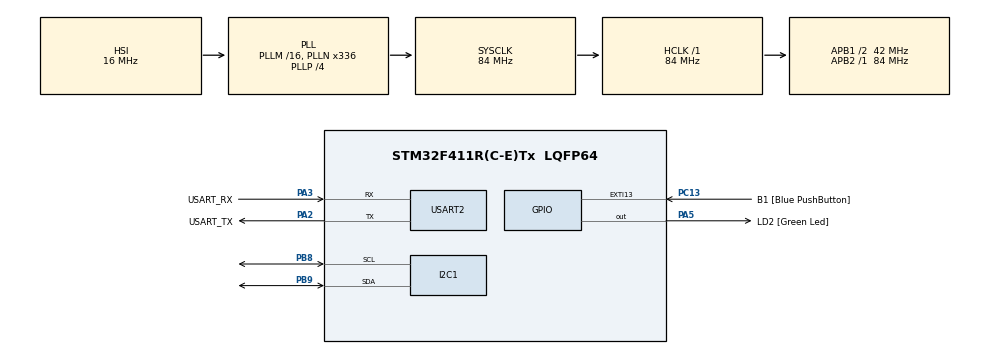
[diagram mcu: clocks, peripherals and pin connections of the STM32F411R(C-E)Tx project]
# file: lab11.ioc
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Dma.I2C1_RX.1.Direction=DMA_PERIPH_TO_MEMORY
Dma.I2C1_RX.1.FIFOMode=DMA_FIFOMODE_DISABLE
Dma.I2C1_RX.1.Instance=DMA1_Stream0
Dma.I2C1_RX.1.MemDataAlignment=DMA_MDATAALIGN_BYTE
Dma.I2C1_RX.1.MemInc=DMA_MINC_ENABLE
Dma.I2C1_RX.1.Mode=DMA_NORMAL
Dma.I2C1_RX.1.PeriphDataAlignment=DMA_PDATAALIGN_BYTE
Dma.I2C1_RX.1.PeriphInc=DMA_PINC_DISABLE
Dma.I2C1_RX.1.Priority=DMA_PRIORITY_LOW
Dma.I2C1_TX.0.Direction=DMA_MEMORY_TO_PERIPH
Dma.I2C1_TX.0.FIFOMode=DMA_FIFOMODE_DISABLE
Dma.I2C1_TX.0.Instance=DMA1_Stream1
Dma.I2C1_TX.0.MemDataAlignment=DMA_MDATAALIGN_BYTE
Dma.I2C1_TX.0.MemInc=DMA_MINC_ENABLE
Dma.I2C1_TX.0.Mode=DMA_NORMAL
Dma.I2C1_TX.0.PeriphDataAlignment=DMA_PDATAALIGN_BYTE
Dma.I2C1_TX.0.PeriphInc=DMA_PINC_DISABLE
Dma.I2C1_TX.0.Priority=DMA_PRIORITY_LOW
Dma.Request0=I2C1_TX
Dma.Request1=I2C1_RX
Mcu.Family=STM32F4
Mcu.Name=STM32F411R(C-E)Tx
Mcu.Package=LQFP64
NVIC.DMA1_Stream0_IRQn=true\:0\:0\:false\:false\:true\:false\:true
NVIC.DMA1_Stream1_IRQn=true\:0\:0\:false\:false\:true\:false\:true
NVIC.I2C1_ER_IRQn=true\:0\:0\:false\:false\:true\:true\:true
NVIC.I2C1_EV_IRQn=true\:0\:0\:false\:false\:true\:true\:true
NVIC.PriorityGroup=NVIC_PRIORITYGROUP_0
PA13.GPIO_Label=TMS
PA13.Mode=Serial_Wire
PA13.Signal=SYS_JTMS-SWDIO
PA14.GPIO_Label=TCK
PA14.Mode=Serial_Wire
PA14.Signal=SYS_JTCK-SWCLK
PA2.GPIO_Label=USART_TX
PA2.Mode=Asynchronous
PA2.Signal=USART2_TX
PA3.GPIO_Label=USART_RX
PA3.Mode=Asynchronous
PA3.Signal=USART2_RX
PA5.GPIO_Label=LD2 [Green Led]
PA5.Signal=GPIO_Output
PB3.GPIO_Label=SWO
PB3.Signal=SYS_JTDO-SWO
PB8.Mode=I2C
PB8.Signal=I2C1_SCL
PB9.Mode=I2C
PB9.Signal=I2C1_SDA
PC13-ANTI_TAMP.GPIO_Label=B1 [Blue PushButton]
PC13-ANTI_TAMP.GPIO_ModeDefaultEXTI=GPIO_MODE_IT_FALLING
PC13-ANTI_TAMP.Signal=GPXTI13
PC14-OSC32_IN.Mode=LSE-External-Oscillator
PC14-OSC32_IN.Signal=RCC_OSC32_IN
PC15-OSC32_OUT.Mode=LSE-External-Oscillator
PC15-OSC32_OUT.Signal=RCC_OSC32_OUT
PH0\ -\ OSC_IN.Mode=HSE-External-Clock-Source
PH0\ -\ OSC_IN.Signal=RCC_OSC_IN
PH1\ -\ OSC_OUT.Mode=HSE-External-Clock-Source
PH1\ -\ OSC_OUT.Signal=RCC_OSC_OUT
ProjectManager.HeapSize=0x200
ProjectManager.StackSize=0x400
ProjectManager.TargetToolchain=STM32CubeIDE
RCC.48MHZClocksFreq_Value=84000000
RCC.AHBFreq_Value=84000000
RCC.APB1CLKDivider=RCC_HCLK_DIV2
RCC.APB1Freq_Value=42000000
RCC.APB1TimFreq_Value=84000000
RCC.APB2Freq_Value=84000000
RCC.APB2TimFreq_Value=84000000
RCC.CortexFreq_Value=84000000
RCC.FLatency-AdvancedSettings=FLASH_LATENCY_2
RCC.HCLKFreq_Value=84000000
RCC.HSE_VALUE=8000000
RCC.HSI_VALUE=16000000
RCC.PLLN=336
RCC.PLLP=RCC_PLLP_DIV4
RCC.SYSCLKFreq_VALUE=84000000
RCC.SYSCLKSource=RCC_SYSCLKSOURCE_PLLCLK
RCC.VCOOutputFreq_Value=336000000
USART2.VirtualMode=VM_ASYNC
board=NUCLEO-F411RE

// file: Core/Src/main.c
/* USER CODE BEGIN Header */
/**
 ******************************************************************************
 * @file           : main.c
 * @brief          : Main program body
 ******************************************************************************
 * @attention
 *
 * <h2><center>&copy; Copyright (c) 2021 STMicroelectronics.
 * All rights reserved.</center></h2>
 *
 * This software component is licensed by ST under BSD 3-Clause license,
 * the "License"; You may not use this file except in compliance with the
 * License. You may obtain a copy of the License at:
 *                        opensource.org/licenses/BSD-3-Clause
 *
 ******************************************************************************
 */
/* USER CODE END Header */
#include "main.h"

/* USER CODE BEGIN PD */
#define EEPROM_ADDR 0b10100000
#define IOEXPD_ADDR 0b01000000
/* USER CODE END PD */

I2C_HandleTypeDef hi2c1;
DMA_HandleTypeDef hdma_i2c1_tx;
DMA_HandleTypeDef hdma_i2c1_rx;

UART_HandleTypeDef huart2;

/* USER CODE BEGIN PV */
uint8_t eepromExampleWriteFlag = 0;
uint8_t eepromExampleReadFlag = 0;
uint8_t IOExpdrExampleWriteFlag = 0;
uint8_t IOExpdrExampleReadFlag = 0;
uint8_t eepromDataReadBack[4];
uint8_t IOExpdrDataReadBack;
uint8_t IOExpdrDataWrite = 0b01010101;
uint8_t status=0;
//uint8_t test[10]={0};
uint8_t state=0;
//uint8_t push=0; uint8_t pre_push=0;
uint8_t s[2]={1,1};
uint8_t data = 0;
enum{button,readio,writerom,readrom,writeio};
/* USER CODE END PV */

void SystemClock_Config(void);
static void MX_GPIO_Init(void);
static void MX_DMA_Init(void);
static void MX_USART2_UART_Init(void);
static void MX_I2C1_Init(void);
/* USER CODE BEGIN PFP */
void EEPROMWriteExample();
void EEPROMReadExample(uint8_t *Rdata, uint16_t len);

void IOExpenderInit();
void IOExpenderReadPinA(uint8_t *Rdata);
void IOExpenderWritePinB(uint8_t Wdata);

/* USER CODE END PFP */

int main(void)
{

  /* MCU Configuration--------------------------------------------------------*/

  /* Reset of all peripherals, Initializes the Flash interface and the Systick. */
  HAL_Init();

  /* Configure the system clock */
  SystemClock_Config();

  /* Initialize all configured peripherals */
  MX_GPIO_Init();
  MX_DMA_Init();
  MX_USART2_UART_Init();
  MX_I2C1_Init();
  /* USER CODE BEGIN 2 */
  HAL_Delay(100);
  IOExpenderInit();
  HAL_Delay(100);
  eepromExampleReadFlag = 1;
  EEPROMReadExample(&data,1);
  HAL_Delay(100);

  IOExpdrExampleWriteFlag=1;
  IOExpenderWritePinB(data);
  HAL_Delay(100);

  /* USER CODE END 2 */

  /* Infinite loop */
  /* USER CODE BEGIN WHILE */
	while (1) {
//		EEPROMWriteExample();
//		EEPROMReadExample(eepromDataReadBack, 4);
//		IOExpenderReadPinA(&IOExpdrDataReadBack);
//		IOExpenderWritePinB(IOExpdrDataWrite);
	switch(state)
	{case button:
		s[0] = HAL_GPIO_ReadPin(B1_GPIO_Port, B1_Pin);
		if (s[1]== GPIO_PIN_RESET && s[0]==GPIO_PIN_SET)
		{state= readio;}
		s[1]=s[0];
		HAL_Delay(100);
		break;

	case readio:
		IOExpdrExampleReadFlag =1;
		IOExpenderReadPinA(&data);
		state = writerom;
		HAL_Delay(100);
		break;

	case writerom:
		eepromExampleWriteFlag = 1;
		EEPROMWriteExample();
		state = readrom;
		HAL_Delay(100);
		break;
	case readrom:
		eepromExampleReadFlag = 1;
		EEPROMReadExample(&data,1);
		HAL_Delay(100);
		state = writeio;

		break;
	case writeio:
		IOExpdrExampleWriteFlag=1;
		IOExpenderWritePinB(data);
		HAL_Delay(100);
		state = button;

		break;

	}

    /* USER CODE END WHILE */

	}
}

void SystemClock_Config(void)
{
  RCC_OscInitTypeDef RCC_OscInitStruct = {0};
  RCC_ClkInitTypeDef RCC_ClkInitStruct = {0};

  /** Configure the main internal regulator output voltage
  */
  __HAL_RCC_PWR_CLK_ENABLE();
  __HAL_PWR_VOLTAGESCALING_CONFIG(PWR_REGULATOR_VOLTAGE_SCALE1);
  /** Initializes the RCC Oscillators according to the specified parameters
  * in the RCC_OscInitTypeDef structure.
  */
  RCC_OscInitStruct.OscillatorType = RCC_OSCILLATORTYPE_HSI;
  RCC_OscInitStruct.HSIState = RCC_HSI_ON;
  RCC_OscInitStruct.HSICalibrationValue = RCC_HSICALIBRATION_DEFAULT;
  RCC_OscInitStruct.PLL.PLLState = RCC_PLL_ON;
  RCC_OscInitStruct.PLL.PLLSource = RCC_PLLSOURCE_HSI;
  RCC_OscInitStruct.PLL.PLLM = 16;
  RCC_OscInitStruct.PLL.PLLN = 336;
  RCC_OscInitStruct.PLL.PLLP = RCC_PLLP_DIV4;
  RCC_OscInitStruct.PLL.PLLQ = 4;
  if (HAL_RCC_OscConfig(&RCC_OscInitStruct) != HAL_OK)
  {
    Error_Handler();
  }
  /** Initializes the CPU, AHB and APB buses clocks
  */
  RCC_ClkInitStruct.ClockType = RCC_CLOCKTYPE_HCLK|RCC_CLOCKTYPE_SYSCLK
                              |RCC_CLOCKTYPE_PCLK1|RCC_CLOCKTYPE_PCLK2;
  RCC_ClkInitStruct.SYSCLKSource = RCC_SYSCLKSOURCE_PLLCLK;
  RCC_ClkInitStruct.AHBCLKDivider = RCC_SYSCLK_DIV1;
  RCC_ClkInitStruct.APB1CLKDivider = RCC_HCLK_DIV2;
  RCC_ClkInitStruct.APB2CLKDivider = RCC_HCLK_DIV1;

  if (HAL_RCC_ClockConfig(&RCC_ClkInitStruct, FLASH_LATENCY_2) != HAL_OK)
  {
    Error_Handler();
  }
}

static void MX_I2C1_Init(void)
{

  hi2c1.Instance = I2C1;
  hi2c1.Init.ClockSpeed = 100000;
  hi2c1.Init.DutyCycle = I2C_DUTYCYCLE_2;
  hi2c1.Init.OwnAddress1 = 0;
  hi2c1.Init.AddressingMode = I2C_ADDRESSINGMODE_7BIT;
  hi2c1.Init.DualAddressMode = I2C_DUALADDRESS_DISABLE;
  hi2c1.Init.OwnAddress2 = 0;
  hi2c1.Init.GeneralCallMode = I2C_GENERALCALL_DISABLE;
  hi2c1.Init.NoStretchMode = I2C_NOSTRETCH_DISABLE;
  if (HAL_I2C_Init(&hi2c1) != HAL_OK)
  {
    Error_Handler();
  }

}

static void MX_USART2_UART_Init(void)
{

  huart2.Instance = USART2;
  huart2.Init.BaudRate = 115200;
  huart2.Init.WordLength = UART_WORDLENGTH_8B;
  huart2.Init.StopBits = UART_STOPBITS_1;
  huart2.Init.Parity = UART_PARITY_NONE;
  huart2.Init.Mode = UART_MODE_TX_RX;
  huart2.Init.HwFlowCtl = UART_HWCONTROL_NONE;
  huart2.Init.OverSampling = UART_OVERSAMPLING_16;
  if (HAL_UART_Init(&huart2) != HAL_OK)
  {
    Error_Handler();
  }

}

static void MX_DMA_Init(void)
{

  /* DMA controller clock enable */
  __HAL_RCC_DMA1_CLK_ENABLE();

  /* DMA interrupt init */
  /* DMA1_Stream0_IRQn interrupt configuration */
  HAL_NVIC_SetPriority(DMA1_Stream0_IRQn, 0, 0);
  HAL_NVIC_EnableIRQ(DMA1_Stream0_IRQn);
  /* DMA1_Stream1_IRQn interrupt configuration */
  HAL_NVIC_SetPriority(DMA1_Stream1_IRQn, 0, 0);
  HAL_NVIC_EnableIRQ(DMA1_Stream1_IRQn);

}

static void MX_GPIO_Init(void)
{
  GPIO_InitTypeDef GPIO_InitStruct = {0};

  /* GPIO Ports Clock Enable */
  __HAL_RCC_GPIOC_CLK_ENABLE();
  __HAL_RCC_GPIOH_CLK_ENABLE();
  __HAL_RCC_GPIOA_CLK_ENABLE();
  __HAL_RCC_GPIOB_CLK_ENABLE();

  /*Configure GPIO pin Output Level */
  HAL_GPIO_WritePin(LD2_GPIO_Port, LD2_Pin, GPIO_PIN_RESET);

  /*Configure GPIO pin : B1_Pin */
  GPIO_InitStruct.Pin = B1_Pin;
  GPIO_InitStruct.Mode = GPIO_MODE_IT_FALLING;
  GPIO_InitStruct.Pull = GPIO_NOPULL;
  HAL_GPIO_Init(B1_GPIO_Port, &GPIO_InitStruct);

  /*Configure GPIO pin : LD2_Pin */
  GPIO_InitStruct.Pin = LD2_Pin;
  GPIO_InitStruct.Mode = GPIO_MODE_OUTPUT_PP;
  GPIO_InitStruct.Pull = GPIO_NOPULL;
  GPIO_InitStruct.Speed = GPIO_SPEED_FREQ_LOW;
  HAL_GPIO_Init(LD2_GPIO_Port, &GPIO_InitStruct);

}

/* USER CODE BEGIN 4 */

void EEPROMWriteExample() {
	if (eepromExampleWriteFlag && hi2c1.State == HAL_I2C_STATE_READY) {

		//static uint8_t data[1] = ;

		HAL_I2C_Mem_Write_IT(&hi2c1, EEPROM_ADDR, 0x63, I2C_MEMADD_SIZE_16BIT,&data, 1);
		eepromExampleWriteFlag = 0;
	}
}
void EEPROMReadExample(uint8_t *Rdata, uint16_t len) {
	if (eepromExampleReadFlag && hi2c1.State == HAL_I2C_STATE_READY) {

		HAL_I2C_Mem_Read_IT(&hi2c1, EEPROM_ADDR, 0x63, I2C_MEMADD_SIZE_16BIT,Rdata, len);
		eepromExampleReadFlag = 0;
	}
}
void IOExpenderInit() {
	//Init All
	static uint8_t Setting[0x16] = { 0xFF, 0x00, 0x00, 0x00, 0x00, 0x00, 0x00,0x00, 0x00, 0x00, 0x00, 0x00, 0xFF, 0x00, 0x00, 0x00, 0x00, 0x00,0x00, 0x00, 0x00, 0x00 };
	HAL_I2C_Mem_Write(&hi2c1, IOEXPD_ADDR, 0x00, I2C_MEMADD_SIZE_8BIT, Setting,0x16, 100);
}
void IOExpenderReadPinA(uint8_t *Rdata) {
	if (IOExpdrExampleReadFlag && hi2c1.State == HAL_I2C_STATE_READY) {
		HAL_I2C_Mem_Read_IT(&hi2c1, IOEXPD_ADDR, 0x12, I2C_MEMADD_SIZE_8BIT,Rdata, 1);
		IOExpdrExampleReadFlag =0;
	}
}
void IOExpenderWritePinB(uint8_t Wdata) {
	if (IOExpdrExampleWriteFlag && hi2c1.State == HAL_I2C_STATE_READY) {
		static uint8_t data;
		data = Wdata;
		HAL_I2C_Mem_Write_IT(&hi2c1, IOEXPD_ADDR, 0x15, I2C_MEMADD_SIZE_8BIT,&data, 1);
		IOExpdrExampleWriteFlag=0;
	}
}
/* USER CODE END 4 */

void Error_Handler(void)
{
	__disable_irq();
	while (1) {
	}
}

/************************ (C) COPYRIGHT STMicroelectronics *****END OF FILE****/
